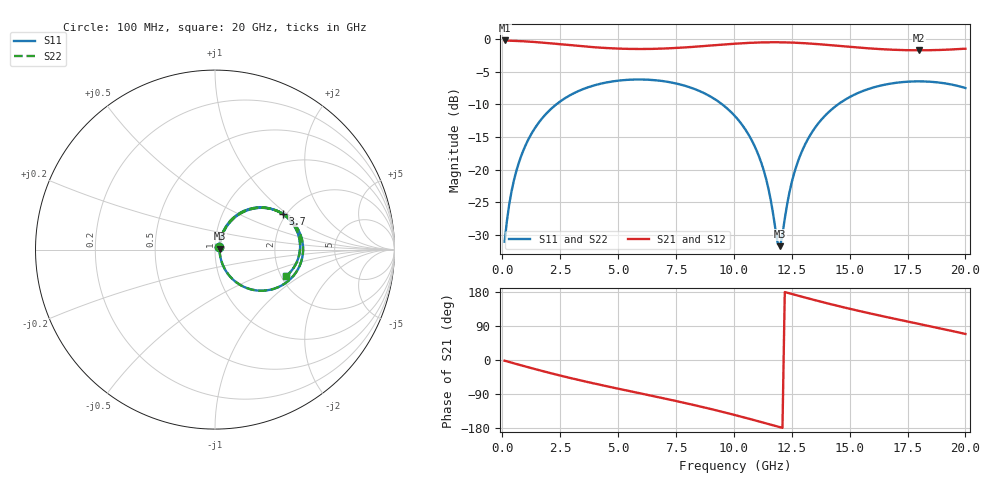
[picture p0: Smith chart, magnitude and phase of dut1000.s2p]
! Touchstone file exported from HFSS 2026.1.0
!  File:  C:/ffzhzh/LocalFiles/Ansys_Project_Files/temp_train_TSV_RDL_1000_1783290020_39728.aedt
!  Generated:  06:34:29 AM Jul  6, 2026
!  Design:  TSV_RDL
!  Project:  temp_train_TSV_RDL_1000_1783290020_39728
! Variables:
!  h_bsmrdl = 4um
!  h_ox = 20um
!  h_rdl = 5um
!  h_sub = 56.27um
!  h_tmrdl = 4.16um
!  h_tsv = 56.27um
!  h_via = 3um
!  l_bsmrdl = 654.53um
!  l_sub = 5246.96um
!  l_tmrdl = 688.6um
!  m_sub = 200um
!  pitch = 41.64um
!  r_tsv = 4.49um
!  s_tmrdl = 10um
!  w_bsmrdl = 23.26um
!  w_sub = 500um
!  w_tmrdl = 19.73um
!  x_tsv_center1 = 698.465um
!  x_tsv_center2 = 1376.255um
!  x_tsv_center3 = 2084.585um
!  x_tsv_center4 = 2762.375um
!  x_tsv_center5 = 3470.705um
!  x_tsv_center6 = 4148.495um
# GHz S MA R 50.000000
! Terminal data exported
! Port[1] = TM_RDL1_1_T1
! Port[2] = TM_RDL5_1_T1
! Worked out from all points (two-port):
!   200 points, 100 MHz to 20 GHz, reference 50 ohm
!   highest |S21| = -0.20 dB at 100 MHz (marker M1); lowest = -1.7 dB at 18 GHz (marker M2)
!   |S21| within 3 dB of the highest: start of sweep to end of sweep
!   lowest |S11| = -31.7 dB at 12 GHz (marker M3), VSWR 1.05, Z = 52.6 + j0.562 ohm
!   |S11| at or under -10 dB: start of sweep to 2.332 GHz; 9.5 GHz to 14.5 GHz (4.999 GHz wide, 41.7 % of centre)
!   |S22| runs from -31.7 to -6.2 dB; largest |S21 - S12| = 2.2e-14
!   S11 on the Smith chart (normalised r, x): 100 MHz: 1.05, +0.03; 3.7 GHz: 1.91, +0.94; 20 GHz: 2.12, -0.77
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0.1  0.028 35.5  0.9776 -1.8  0.9776 -1.8  0.028 35.5
! Gamma 0 0 0 0
! Port Impedance 50 0 50 0
0.3  0.05425 58.0  0.9745 -5.3  0.9745 -5.3  0.05425 58.0
0.5  0.08243 63.2  0.9714 -8.7  0.9714 -8.7  0.08243 63.2
1.1  0.1668 61.9  0.9593 -18.8  0.9593 -18.8  0.1668 61.9
2.1  0.2915 49.6  0.9285 -34.9  0.9285 -34.9  0.2915 49.6
3.5  0.4148 30.6  0.8807 -55.6  0.8807 -55.6  0.4148 30.6
3.7  0.4274 28.0  0.8747 -58.3  0.8747 -58.3  0.4274 28.0
5.3  0.4864 7.8  0.8437 -79.6  0.8437 -79.6  0.4864 7.8
6.8  0.4805 -10.7  0.8455 -98.9  0.8455 -98.9  0.4804 -10.7
8.6  0.3944 -33.6  0.8826 -123.4  0.8826 -123.4  0.3944 -33.6
10.1  0.2512 -53.5  0.9245 -146.1  0.9245 -146.1  0.2512 -53.4
10.7  0.1773 -60.4  0.9374 -155.8  0.9374 -155.8  0.1773 -60.3
11.2  0.111 -63.4  0.9444 -164.0  0.9444 -164.0  0.111 -63.3
11.5  0.07071 -60.4  0.9466 -169.0  0.9466 -169.0  0.07075 -60.3
11.9  0.02696 -17.7  0.9468 -175.7  0.9468 -175.7  0.02713 -17.5
12  0.0259 11.9  0.9464 -177.4  0.9464 -177.4  0.02609 11.9
12.6  0.09317 64.9  0.94 172.6  0.94 172.6  0.09326 64.8
13.4  0.1965 60.7  0.9227 159.6  0.9227 159.6  0.1966 60.7
14.8  0.3433 43.2  0.88 138.1  0.88 138.1  0.3433 43.2
16.7  0.4543 19.3  0.8324 111.9  0.8324 111.9  0.4544 19.3
18  0.4749 3.7  0.8218 95.1  0.8218 95.1  0.475 3.6
20  0.4223 -20.6  0.8455 68.7  0.8455 68.7  0.4224 -20.6
